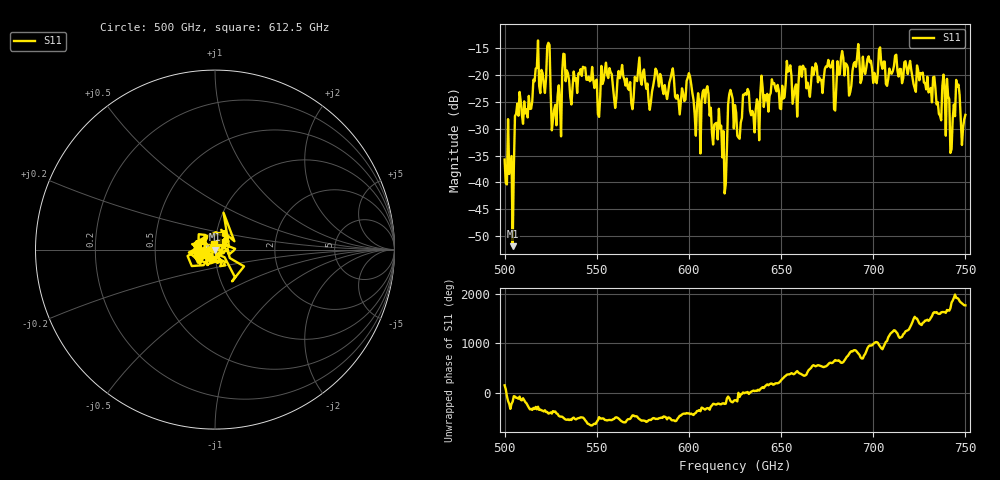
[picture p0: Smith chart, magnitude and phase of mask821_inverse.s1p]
!Created with skrf (http://scikit-rf.org).
# GHz S MA R 50.0
!freq magS11 angS11
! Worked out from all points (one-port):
!   401 points, 500 GHz to 750 GHz, reference 50 ohm
!   lowest |S11| = -51.9 dB at 504.4 GHz (marker M1), VSWR 1.01, Z = 49.7 - j0.00397 ohm
!   |S11| at or under -10 dB: start of sweep to end of sweep
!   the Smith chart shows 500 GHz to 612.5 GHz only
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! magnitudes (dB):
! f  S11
! 500 GHz  -35.7
! 504.4 GHz  -51.9
! 506.9 GHz  -25.3
! 513.8 GHz  -26.3
! 516.9 GHz  -18.7
! 523.8 GHz  -13.9
! 526.9 GHz  -26.4
! 531.2 GHz  -19.4
! 562.5 GHz  -20.6
! 579.4 GHz  -25.0
! 590.6 GHz  -19.6
! 593.8 GHz  -23.7
! 600 GHz  -19.6
! 605 GHz  -23.4
! 609.4 GHz  -22.7
! 619.4 GHz  -42.0
! 622.5 GHz  -22.7
! 625 GHz  -25.6
! 656.2 GHz  -25.3
! 676.9 GHz  -18.6
! 680 GHz  -22.2
! 683.8 GHz  -16.7
! 687.5 GHz  -23.2
! 691.2 GHz  -16.6
! 718.8 GHz  -19.8
! 743.1 GHz  -28.1
! 745.6 GHz  -22.1
! 750 GHz  -27.4
